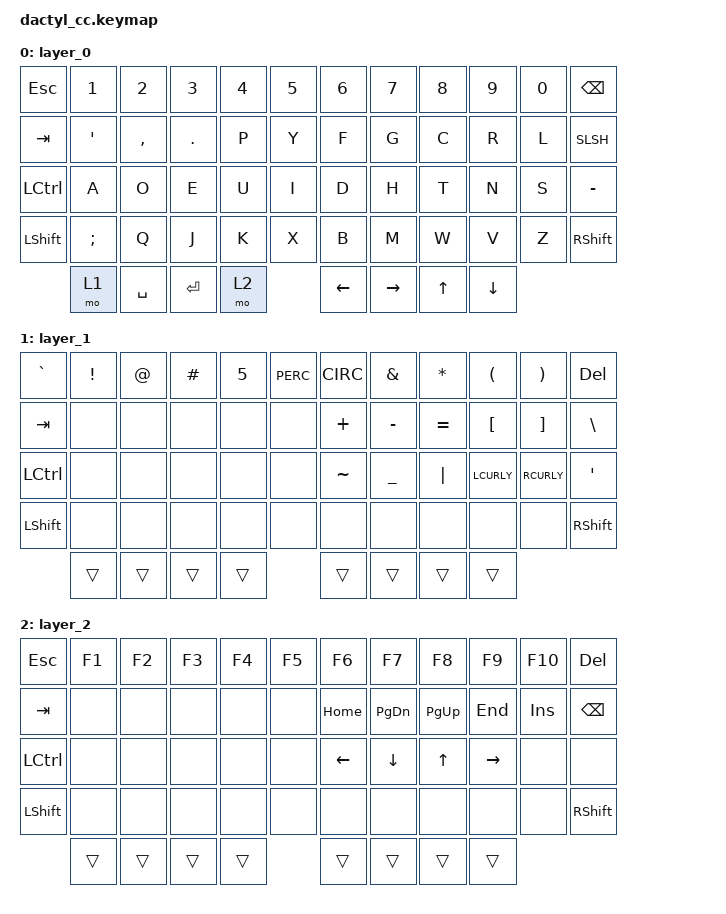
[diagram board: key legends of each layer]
#include <behaviors.dtsi>
#include <dt-bindings/zmk/keys.h>
#include <dt-bindings/zmk/bt.h>
#include <dt-bindings/zmk/outputs.h>

#define DEFAULT 0
#define LOWER   1
#define RAISE   2
#define ADJUST  3

#define HYPER(key) LS(LC(LA(LG(key))))
#define MEH(key)   LS(LC(LA(key)))

&sl {
    release-after-ms = <5000>;
};

&kscan0 {
    debounce-press-ms = <30>;
    debounce-release-ms = <30>;
};

/ {
    keymap {
        compatible = "zmk,keymap";

        layer_0 {
            bindings = <
                &kp ESC   &kp N1    &kp N2    &kp N3    &kp N4    &kp N5    &kp N6    &kp N7    &kp N8    &kp N9    &kp N0    &kp BSPC
                &kp TAB   &kp SQT   &kp COMMA &kp DOT   &kp P     &kp Y     &kp F     &kp G     &kp C     &kp R     &kp L     &kp SLSH
                &kp LCTRL &kp A     &kp O     &kp E     &kp U     &kp I     &kp D     &kp H     &kp T     &kp N     &kp S     &kp MINUS
                &kp LSHFT &kp SEMI  &kp Q     &kp J     &kp K     &kp X     &kp B     &kp M     &kp W     &kp V     &kp Z     &kp RSHFT
                          &mo 1     &kp SPACE &kp ENTER          &mo 2     &kp LEFT  &kp RIGHT &kp UP    &kp DOWN
            >;
        };

        layer_1 {
            bindings = <
                &kp GRAVE &kp EXCL  &kp AT    &kp HASH  &kp N5    &kp PERC  &kp CIRC  &kp AMPS  &kp ASTRK &kp LPAR  &kp RPAR  &kp DEL
                &kp TAB   &none     &none     &none     &none     &none     &kp PLUS  &kp MINUS &kp EQUAL &kp LBKT  &kp RBKT  &kp BSLH
                &kp LCTRL &none     &none     &none     &none     &none     &kp TILDE &kp UNDER &kp PIPE  &kp LCURLY &kp RCURLY &kp QUOT
                &kp LSHFT &none     &none     &none     &none     &none     &none     &none     &none     &none     &none     &kp RSHFT
                          &trans    &trans    &trans             &trans    &trans    &trans    &trans    &trans
            >;
        };

        layer_2 {
            bindings = <
                &kp ESC   &kp F1    &kp F2    &kp F3    &kp F4    &kp F5    &kp F6    &kp F7    &kp F8    &kp F9    &kp F10   &kp DEL
                &kp TAB   &none     &none     &none     &none     &none     &kp HOME  &kp PG_DN &kp PG_UP &kp END  &kp INS   &kp BSPC
                &kp LCTRL &none     &none     &none     &none     &none     &kp LEFT  &kp DOWN  &kp UP    &kp RIGHT &none    &none
                &kp LSHFT &none     &none     &none     &none     &none     &none     &none     &none     &none     &none    &kp RSHFT
                          &trans    &trans    &trans             &trans    &trans    &trans    &trans    &trans
            >;
        };
    };
};
